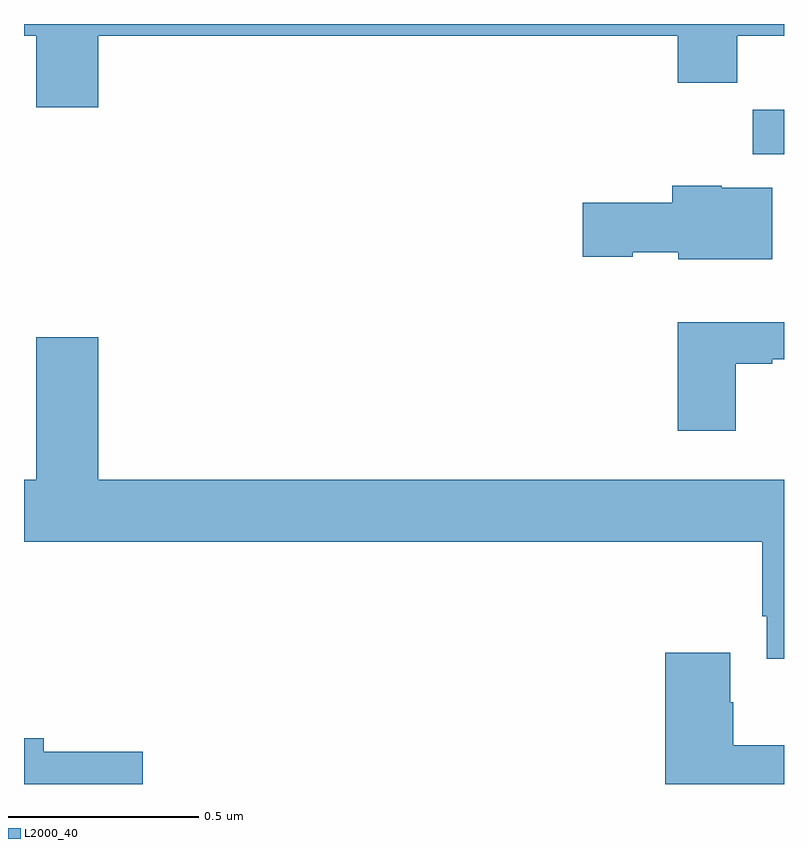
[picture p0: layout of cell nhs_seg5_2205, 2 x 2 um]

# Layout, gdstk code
import gdstk
lib = gdstk.Library(unit=1e-6, precision=1e-09)
def R(c, l, rs):  # rectangles x0, y0, x1, y1
    for r in rs: c.add(gdstk.rectangle(r[:2], r[2:], *l))
def P(c, l, *ps):  # polygons
    for p in ps: c.add(gdstk.Polygon(p, *l))
L2000_40 = (2000, 40)

nhs_seg5_2205 = lib.new_cell('nhs_seg5_2205')
R(nhs_seg5_2205, L2000_40, [(142.918,848.456,143,848.574)])
P(nhs_seg5_2205, L2000_40, [(141.196,848.768),(142.721,848.768),(142.721,848.644),(142.877,848.644),(142.877,848.768),(143,848.768),(143,848.799),(141,848.799),(141,848.768),(141.032,848.768),(141.032,848.58),(141.196,848.58)],
  [(142.969,848.368),(142.836,848.368),(142.836,848.374),(142.706,848.374),(142.706,848.328),(142.47,848.328),(142.47,848.186),(142.602,848.186),(142.602,848.198),(142.722,848.198),(142.722,848.18),(142.969,848.18)],
  [(142.873,847.905),(142.969,847.905),(142.969,847.917),(143,847.917),(143,848.014),(142.721,848.014),(142.721,847.728),(142.873,847.728)],
  [(143,847.6),(141.196,847.6),(141.196,847.975),(141.032,847.975),(141.032,847.6),(141,847.6),(141,847.436),(142.943,847.436),(142.943,847.24),(142.955,847.24),(142.955,847.128),(143,847.128)],
  [(143,846.901),(142.866,846.901),(142.866,847.014),(142.858,847.014),(142.858,847.144),(142.688,847.144),(142.688,846.799),(143,846.799)],
  [(141.313,846.884),(141.052,846.884),(141.052,846.92),(141,846.92),(141,846.799),(141.313,846.799)])

lib.write_gds('nhs_seg5_2205.gds')
